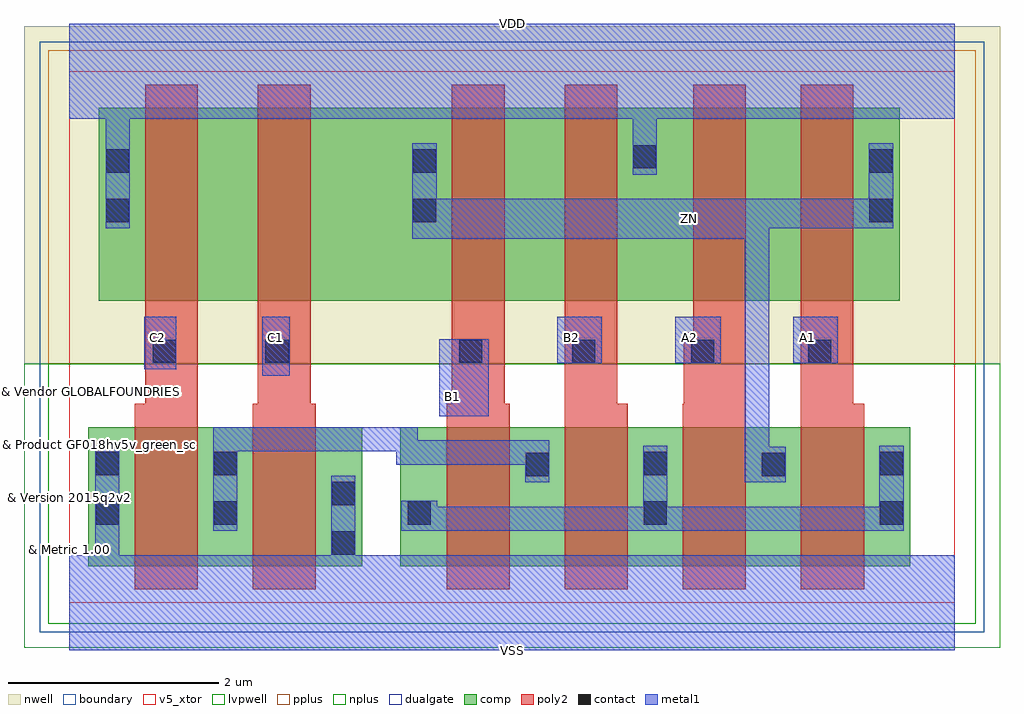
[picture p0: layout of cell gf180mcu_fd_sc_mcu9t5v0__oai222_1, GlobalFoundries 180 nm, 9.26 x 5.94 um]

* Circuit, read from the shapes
.subckt gf180mcu_fd_sc_mcu9t5v0__oai222_1 A1 A2 B1 B2 C1 C2 VDD VSS ZN
XM1 n1 C2 VSS VSUBS nfet_05v0 w=1.32u l=0.6u
XM2 VSS C1 n1 VSUBS nfet_05v0 w=1.32u l=0.6u
XM3 n1 B1 n2 VSUBS nfet_05v0 w=1.32u l=0.6u
XM4 n2 B2 n1 VSUBS nfet_05v0 w=1.32u l=0.6u
XM5 ZN A2 n2 VSUBS nfet_05v0 w=1.32u l=0.6u
XM6 n2 A1 ZN VSUBS nfet_05v0 w=1.32u l=0.6u
XM7 n3 C2 VDD n4 pfet_05v0 w=1.83u l=0.5u
XM8 ZN C1 n3 n4 pfet_05v0 w=1.83u l=0.5u
XM9 n5 B1 ZN n4 pfet_05v0 w=1.83u l=0.5u
XM10 VDD B2 n5 n4 pfet_05v0 w=1.83u l=0.5u
XM11 n6 A2 VDD n4 pfet_05v0 w=1.83u l=0.5u
XM12 ZN A1 n6 n4 pfet_05v0 w=1.83u l=0.5u
.ends

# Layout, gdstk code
import gdstk
lib = gdstk.Library(unit=1e-6, precision=1e-09)
def R(c, l, rs):  # rectangles x0, y0, x1, y1
    for r in rs: c.add(gdstk.rectangle(r[:2], r[2:], *l))
def A(c, l, x, y, w, h, nx, ny, dx, dy):  # array of equal rectangles
    R(c, l, [(x+i*dx, y+j*dy, x+i*dx+w, y+j*dy+h) for i in range(nx) for j in range(ny)])
def P(c, l, *ps):  # polygons
    for p in ps: c.add(gdstk.Polygon(p, *l))
boundary = (0, 0)
nwell = (21, 0)
comp = (22, 0)
poly2 = (30, 0)
pplus = (31, 0)
nplus = (32, 0)
contact = (33, 0)
metal1 = (34, 0)
dualgate = (55, 0)
v5_xtor = (112, 1)
lvpwell = (204, 0)

gf180mcu_fd_sc_mcu9t5v0_ = lib.new_cell('gf180mcu_fd_sc_mcu9t5v0__oai222_1')
R(gf180mcu_fd_sc_mcu9t5v0_, boundary, [(0,0,8.4,5.04)])
R(gf180mcu_fd_sc_mcu9t5v0_, nwell, [(-0.43,2.265,8.83,5.47)])
R(gf180mcu_fd_sc_mcu9t5v0_, comp, [(0.18,0.345,2.78,1.665), (3.14,0.345,7.98,1.665), (0.28,2.865,7.88,4.695)])
P(gf180mcu_fd_sc_mcu9t5v0_, poly2, [(0.62,0.125),(0.62,1.885),(0.72,1.885),(0.72,4.915),(1.22,4.915),(1.22,0.125)],
  [(1.74,0.125),(1.74,1.885),(1.79,1.885),(1.79,4.915),(2.29,4.915),(2.29,1.885),(2.34,1.885),(2.34,0.125)],
  [(3.58,0.125),(3.58,1.885),(3.63,1.885),(3.63,4.915),(4.13,4.915),(4.13,1.885),(4.18,1.885),(4.18,0.125)],
  [(4.7,0.125),(4.7,4.915),(5.2,4.915),(5.2,1.885),(5.3,1.885),(5.3,0.125)],
  [(5.82,0.125),(5.82,1.885),(5.83,1.885),(5.83,2.565),(5.92,2.565),(5.92,4.915),(6.42,4.915),(6.42,0.125)],
  [(6.94,0.125),(6.94,4.915),(7.44,4.915),(7.44,1.885),(7.54,1.885),(7.54,0.125)])
R(gf180mcu_fd_sc_mcu9t5v0_, pplus, [(-0.2,2.265,8.6,5.24)])
R(gf180mcu_fd_sc_mcu9t5v0_, nplus, [(-0.2,-0.2,8.6,2.265)])
A(gf180mcu_fd_sc_mcu9t5v0_, contact, 3.21, 0.74, 0.22, 0.22, 3, 1, 2.24, 0)
R(gf180mcu_fd_sc_mcu9t5v0_, contact, [(2.49,0.455,2.71,0.675), (0.25,0.74,0.47,0.96), (1.37,0.74,1.59,0.96), (2.49,0.925,2.71,1.145), (4.33,1.2,4.55,1.42), (6.57,1.2,6.79,1.42), (0.25,1.21,0.47,1.43), (1.37,1.21,1.59,1.43), (5.45,1.21,5.67,1.43), (7.69,1.21,7.91,1.43), (0.79,2.275,1.01,2.495), (1.86,2.275,2.08,2.495), (3.7,2.275,3.92,2.495), (4.77,2.275,4.99,2.495), (5.9,2.275,6.12,2.495), (7.01,2.275,7.23,2.495), (0.35,3.61,0.57,3.83), (3.26,3.61,3.48,3.83), (7.59,3.61,7.81,3.83), (0.35,4.08,0.57,4.3), (3.26,4.08,3.48,4.3), (7.59,4.08,7.81,4.3), (5.35,4.12,5.57,4.34)])
R(gf180mcu_fd_sc_mcu9t5v0_, metal1, [(3.51,1.77,3.98,2.5), (1.83,2.15,2.09,2.71), (0.71,2.215,1.015,2.71), (4.63,2.27,5.05,2.71), (5.75,2.27,6.18,2.71), (6.87,2.27,7.29,2.71)])
P(gf180mcu_fd_sc_mcu9t5v0_, metal1, [(1.365,0.68),(1.365,1.665),(3.305,1.665),(3.305,1.54),(4.555,1.54),(4.555,1.14),(4.325,1.14),(4.325,1.31),(3.1,1.31),(3.1,1.435),(1.595,1.435),(1.595,0.68)],
  [(6.41,1.14),(6.41,3.45),(3.255,3.45),(3.255,4.36),(3.485,4.36),(3.485,3.83),(7.585,3.83),(7.585,4.36),(7.815,4.36),(7.815,3.55),(6.64,3.55),(6.64,1.48),(6.795,1.48),(6.795,1.14)],
  [(3.15,0.68),(3.15,0.965),(3.49,0.965),(3.49,0.91),(5.445,0.91),(5.445,1.49),(5.675,1.49),(5.675,0.91),(7.685,0.91),(7.685,1.49),(7.915,1.49),(7.915,0.68)],
  [(0,-0.45),(0,0.45),(0.245,0.45),(0.245,1.49),(0.475,1.49),(0.475,0.45),(2.485,0.45),(2.485,1.205),(2.715,1.205),(2.715,0.45),(8.4,0.45),(8.4,-0.45)],
  [(0.345,3.55),(0.345,4.59),(0,4.59),(0,5.49),(8.4,5.49),(8.4,4.59),(5.575,4.59),(5.575,4.06),(5.345,4.06),(5.345,4.59),(0.575,4.59),(0.575,3.55)])
R(gf180mcu_fd_sc_mcu9t5v0_, dualgate, [(-0.28,-0.28,8.68,5.32)])
R(gf180mcu_fd_sc_mcu9t5v0_, v5_xtor, [(0,0,8.4,5.04)])
R(gf180mcu_fd_sc_mcu9t5v0_, lvpwell, [(-0.43,-0.43,8.83,2.265)])
gf180mcu_fd_sc_mcu9t5v0_.add(gdstk.Label('A1', (7,2.52), layer=34, texttype=10))
gf180mcu_fd_sc_mcu9t5v0_.add(gdstk.Label('A2', (5.88,2.52), layer=34, texttype=10))
gf180mcu_fd_sc_mcu9t5v0_.add(gdstk.Label('B1', (3.64,1.96), layer=34, texttype=10))
gf180mcu_fd_sc_mcu9t5v0_.add(gdstk.Label('B2', (4.76,2.52), layer=34, texttype=10))
gf180mcu_fd_sc_mcu9t5v0_.add(gdstk.Label('C1', (1.96,2.52), layer=34, texttype=10))
gf180mcu_fd_sc_mcu9t5v0_.add(gdstk.Label('C2', (0.84,2.52), layer=34, texttype=10))
gf180mcu_fd_sc_mcu9t5v0_.add(gdstk.Label('VDD', (4.2,5.49), layer=34, texttype=10))
gf180mcu_fd_sc_mcu9t5v0_.add(gdstk.Label('VSS', (4.2,-0.45), layer=34, texttype=10))
gf180mcu_fd_sc_mcu9t5v0_.add(gdstk.Label('ZN', (5.88,3.64), layer=34, texttype=10))
gf180mcu_fd_sc_mcu9t5v0_.add(gdstk.Label('& Vendor GLOBALFOUNDRIES', (0,2), layer=63, texttype=63))
gf180mcu_fd_sc_mcu9t5v0_.add(gdstk.Label('& Product GF018hv5v_green_sc9', (0,1.5), layer=63, texttype=63))
gf180mcu_fd_sc_mcu9t5v0_.add(gdstk.Label('& Version 2015q2v2', (0,1), layer=63, texttype=63))
gf180mcu_fd_sc_mcu9t5v0_.add(gdstk.Label('& Metric 1.00', (0,0.5), layer=63, texttype=63))

lib.write_gds('gf180mcu_fd_sc_mcu9t5v0__oai222_1.gds')
